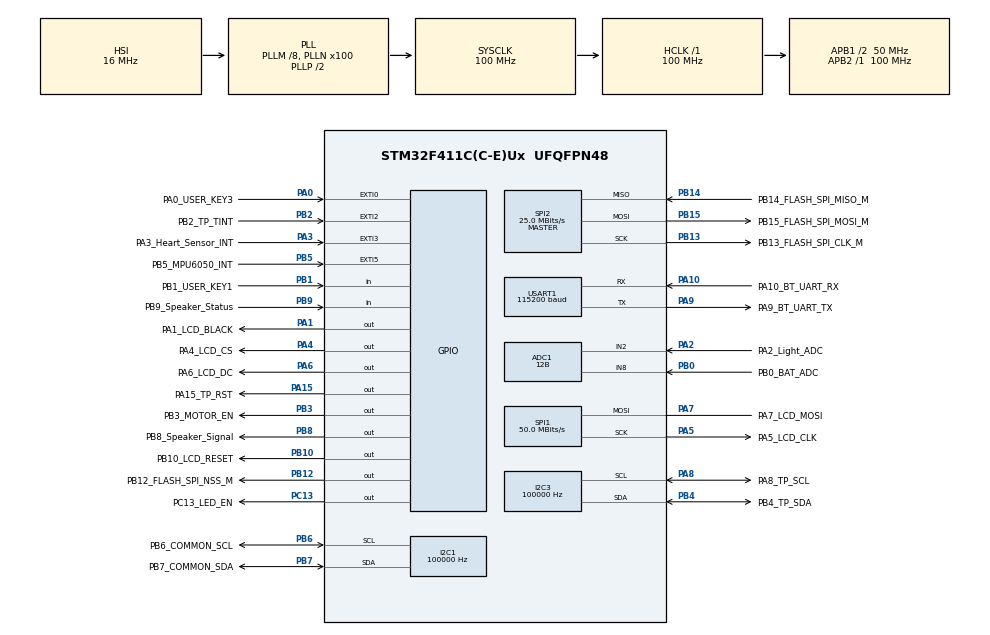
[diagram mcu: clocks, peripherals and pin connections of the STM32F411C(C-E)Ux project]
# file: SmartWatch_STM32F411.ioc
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ADC1.Channel-1\#ChannelRegularConversion=ADC_CHANNEL_8
ADC1.Channel-6\#ChannelRegularConversion=ADC_CHANNEL_2
ADC1.Channel-7\#ChannelRegularConversion=ADC_CHANNEL_2
ADC1.Channel-IN2=ADC_CHANNEL_2
ADC1.Channel-IN8=ADC_CHANNEL_8
ADC1.ClockPrescaler=ADC_CLOCK_SYNC_PCLK_DIV4
ADC1.ContinuousConvMode=DISABLE
ADC1.DMAContinuousRequests=DISABLE
ADC1.DataAlign=ADC_DATAALIGN_RIGHT
ADC1.DiscontinuousConvMode=ENABLE
ADC1.EOCSelection=ADC_EOC_SINGLE_CONV
ADC1.EnableAnalogWatchDog=false
ADC1.ExternalTrigConv=ADC_SOFTWARE_START
ADC1.ExternalTrigConvEdge=ADC_EXTERNALTRIGCONVEDGE_NONE
ADC1.InjNumberOfConversion=0
ADC1.Mode=__NULL
ADC1.NbrOfConversion=3
ADC1.NbrOfDiscConversion=1
ADC1.Rank-1\#ChannelRegularConversion=1
ADC1.Rank-6\#ChannelRegularConversion=2
ADC1.Rank-7\#ChannelRegularConversion=3
ADC1.Resolution=ADC_RESOLUTION_12B
ADC1.SamplingTime-1\#ChannelRegularConversion=ADC_SAMPLETIME_480CYCLES
ADC1.SamplingTime-6\#ChannelRegularConversion=ADC_SAMPLETIME_480CYCLES
ADC1.SamplingTime-7\#ChannelRegularConversion=ADC_SAMPLETIME_480CYCLES
ADC1.ScanConvMode=ENABLE
ADC1.master=1
Dma.I2C1_RX.2.Direction=DMA_PERIPH_TO_MEMORY
Dma.I2C1_RX.2.FIFOMode=DMA_FIFOMODE_DISABLE
Dma.I2C1_RX.2.Instance=DMA1_Stream5
Dma.I2C1_RX.2.MemDataAlignment=DMA_MDATAALIGN_BYTE
Dma.I2C1_RX.2.MemInc=DMA_MINC_ENABLE
Dma.I2C1_RX.2.Mode=DMA_NORMAL
Dma.I2C1_RX.2.PeriphDataAlignment=DMA_PDATAALIGN_BYTE
Dma.I2C1_RX.2.PeriphInc=DMA_PINC_DISABLE
Dma.I2C1_RX.2.Priority=DMA_PRIORITY_LOW
Dma.I2C3_RX.3.Direction=DMA_PERIPH_TO_MEMORY
Dma.I2C3_RX.3.FIFOMode=DMA_FIFOMODE_DISABLE
Dma.I2C3_RX.3.Instance=DMA1_Stream1
Dma.I2C3_RX.3.MemDataAlignment=DMA_MDATAALIGN_BYTE
Dma.I2C3_RX.3.MemInc=DMA_MINC_ENABLE
Dma.I2C3_RX.3.Mode=DMA_NORMAL
Dma.I2C3_RX.3.PeriphDataAlignment=DMA_PDATAALIGN_BYTE
Dma.I2C3_RX.3.PeriphInc=DMA_PINC_DISABLE
Dma.I2C3_RX.3.Priority=DMA_PRIORITY_LOW
Dma.Request0=USART1_RX
Dma.Request1=SPI2_TX
Dma.Request2=I2C1_RX
Dma.Request3=I2C3_RX
Dma.Request4=SPI1_TX
Dma.SPI1_TX.4.Direction=DMA_MEMORY_TO_PERIPH
Dma.SPI1_TX.4.FIFOMode=DMA_FIFOMODE_DISABLE
Dma.SPI1_TX.4.Instance=DMA2_Stream3
Dma.SPI1_TX.4.MemDataAlignment=DMA_MDATAALIGN_BYTE
Dma.SPI1_TX.4.MemInc=DMA_MINC_ENABLE
Dma.SPI1_TX.4.Mode=DMA_NORMAL
Dma.SPI1_TX.4.PeriphDataAlignment=DMA_PDATAALIGN_BYTE
Dma.SPI1_TX.4.PeriphInc=DMA_PINC_DISABLE
Dma.SPI1_TX.4.Priority=DMA_PRIORITY_LOW
Dma.SPI2_TX.1.Direction=DMA_MEMORY_TO_PERIPH
Dma.SPI2_TX.1.FIFOMode=DMA_FIFOMODE_DISABLE
Dma.SPI2_TX.1.Instance=DMA1_Stream4
Dma.SPI2_TX.1.MemDataAlignment=DMA_MDATAALIGN_BYTE
Dma.SPI2_TX.1.MemInc=DMA_MINC_ENABLE
Dma.SPI2_TX.1.Mode=DMA_NORMAL
Dma.SPI2_TX.1.PeriphDataAlignment=DMA_PDATAALIGN_BYTE
Dma.SPI2_TX.1.PeriphInc=DMA_PINC_DISABLE
Dma.SPI2_TX.1.Priority=DMA_PRIORITY_VERY_HIGH
Dma.USART1_RX.0.Direction=DMA_PERIPH_TO_MEMORY
Dma.USART1_RX.0.FIFOMode=DMA_FIFOMODE_DISABLE
Dma.USART1_RX.0.Instance=DMA2_Stream2
Dma.USART1_RX.0.MemDataAlignment=DMA_MDATAALIGN_BYTE
Dma.USART1_RX.0.MemInc=DMA_MINC_ENABLE
Dma.USART1_RX.0.Mode=DMA_NORMAL
Dma.USART1_RX.0.PeriphDataAlignment=DMA_PDATAALIGN_BYTE
Dma.USART1_RX.0.PeriphInc=DMA_PINC_DISABLE
Dma.USART1_RX.0.Priority=DMA_PRIORITY_MEDIUM
FREERTOS.HEAP_NUMBER=4
FREERTOS.INCLUDE_eTaskGetState=1
FREERTOS.INCLUDE_pcTaskGetTaskName=0
FREERTOS.INCLUDE_uxTaskGetStackHighWaterMark=1
FREERTOS.INCLUDE_uxTaskGetStackHighWaterMark2=0
FREERTOS.INCLUDE_uxTaskPriorityGet=1
FREERTOS.INCLUDE_vTaskCleanUpResources=0
FREERTOS.INCLUDE_vTaskDelay=1
FREERTOS.INCLUDE_vTaskDelayUntil=1
FREERTOS.INCLUDE_vTaskDelete=1
FREERTOS.INCLUDE_vTaskPrioritySet=1
FREERTOS.INCLUDE_vTaskSuspend=1
FREERTOS.INCLUDE_xEventGroupSetBitFromISR=0
FREERTOS.INCLUDE_xQueueGetMutexHolder=1
FREERTOS.INCLUDE_xSemaphoreGetMutexHolder=0
FREERTOS.INCLUDE_xTaskAbortDelay=0
FREERTOS.INCLUDE_xTaskGetCurrentTaskHandle=1
FREERTOS.INCLUDE_xTaskGetHandle=0
FREERTOS.INCLUDE_xTaskGetSchedulerState=1
FREERTOS.INCLUDE_xTaskResumeFromISR=1
FREERTOS.INCLUDE_xTimerPendFunctionCall=1
FREERTOS.Tasks01=defaultTask,24,128,StartDefaultTask,Default,NULL,Dynamic,NULL,NULL
FREERTOS.configCHECK_FOR_STACK_OVERFLOW=0
FREERTOS.configENABLE_BACKWARD_COMPATIBILITY=1
FREERTOS.configENABLE_FPU=0
FREERTOS.configGENERATE_RUN_TIME_STATS=0
FREERTOS.configIDLE_SHOULD_YIELD=1
FREERTOS.configLIBRARY_LOWEST_INTERRUPT_PRIORITY=15
FREERTOS.configLIBRARY_MAX_SYSCALL_INTERRUPT_PRIORITY=5
FREERTOS.configMAX_CO_ROUTINE_PRIORITIES=2
FREERTOS.configMAX_TASK_NAME_LEN=16
FREERTOS.configMINIMAL_STACK_SIZE=128
FREERTOS.configQUEUE_REGISTRY_SIZE=8
FREERTOS.configRECORD_STACK_HIGH_ADDRESS=0
FREERTOS.configTICK_RATE_HZ=1000
FREERTOS.configTIMER_QUEUE_LENGTH=10
FREERTOS.configTIMER_TASK_PRIORITY=2
FREERTOS.configTIMER_TASK_STACK_DEPTH=256
FREERTOS.configTOTAL_HEAP_SIZE=30720
FREERTOS.configUSE_APPLICATION_TASK_TAG=0
FREERTOS.configUSE_COUNTING_SEMAPHORES=1
FREERTOS.configUSE_CO_ROUTINES=0
FREERTOS.configUSE_DAEMON_TASK_STARTUP_HOOK=0
FREERTOS.configUSE_IDLE_HOOK=0
FREERTOS.configUSE_MALLOC_FAILED_HOOK=0
FREERTOS.configUSE_MUTEXES=1
FREERTOS.configUSE_NEWLIB_REENTRANT=0
FREERTOS.configUSE_OS2_EVENTFLAGS_FROM_ISR=1
FREERTOS.configUSE_OS2_MUTEX=1
FREERTOS.configUSE_OS2_THREAD_ENUMERATE=1
FREERTOS.configUSE_OS2_THREAD_FLAGS=1
FREERTOS.configUSE_OS2_THREAD_SUSPEND_RESUME=1
FREERTOS.configUSE_OS2_TIMER=1
FREERTOS.configUSE_POSIX_ERRNO=0
FREERTOS.configUSE_PREEMPTION=1
FREERTOS.configUSE_RECURSIVE_MUTEXES=1
FREERTOS.configUSE_STATS_FORMATTING_FUNCTIONS=0
FREERTOS.configUSE_TASK_NOTIFICATIONS=1
FREERTOS.configUSE_TICKLESS_IDLE=0
FREERTOS.configUSE_TICK_HOOK=0
FREERTOS.configUSE_TRACE_FACILITY=1
FREERTOS.copyHeapFile=1
I2C1.AddressingMode=I2C_ADDRESSINGMODE_7BIT
I2C1.ClockSpeed=100000
I2C1.DualAddressMode=I2C_DUALADDRESS_DISABLE
I2C1.GeneralCallMode=I2C_GENERALCALL_DISABLE
I2C1.I2C_Mode=I2C_Standard
I2C1.NoStretchMode=I2C_NOSTRETCH_DISABLE
I2C1.OwnAddress=0
I2C3.AddressingMode=I2C_ADDRESSINGMODE_7BIT
I2C3.ClockSpeed=100000
I2C3.DualAddressMode=I2C_DUALADDRESS_DISABLE
I2C3.GeneralCallMode=I2C_GENERALCALL_DISABLE
I2C3.I2C_Mode=I2C_Standard
I2C3.NoStretchMode=I2C_NOSTRETCH_DISABLE
I2C3.OwnAddress=0
IWDG.Prescaler=IWDG_PRESCALER_64
IWDG.Reload=2500
Mcu.Family=STM32F4
Mcu.Name=STM32F411C(C-E)Ux
Mcu.Package=UFQFPN48
NVIC.DMA1_Stream1_IRQn=true\:5\:0\:false\:false\:true\:true\:false\:true
NVIC.DMA1_Stream4_IRQn=true\:5\:0\:false\:false\:true\:true\:false\:true
NVIC.DMA1_Stream5_IRQn=true\:5\:0\:false\:false\:true\:false\:false\:true
NVIC.DMA2_Stream2_IRQn=true\:5\:0\:false\:false\:true\:true\:false\:true
NVIC.DMA2_Stream3_IRQn=true\:5\:0\:false\:false\:true\:true\:false\:true
NVIC.EXTI0_IRQn=true\:5\:0\:false\:false\:true\:true\:true\:true
NVIC.EXTI2_IRQn=true\:5\:0\:false\:false\:true\:true\:true\:true
NVIC.EXTI9_5_IRQn=true\:5\:0\:false\:false\:true\:true\:true\:true
NVIC.PriorityGroup=NVIC_PRIORITYGROUP_4
NVIC.RTC_WKUP_IRQn=true\:5\:0\:false\:false\:true\:true\:true\:true
NVIC.TIM1_TRG_COM_TIM11_IRQn=true\:15\:0\:false\:false\:true\:false\:true\:true
NVIC.TimeBase=TIM1_TRG_COM_TIM11_IRQn
NVIC.TimeBaseIP=TIM11
NVIC.USART1_IRQn=true\:5\:0\:false\:false\:true\:true\:true\:true
PA0-WKUP.GPIO_Label=PA0_USER_KEY3
PA0-WKUP.GPIO_ModeDefaultEXTI=GPIO_MODE_IT_FALLING
PA0-WKUP.Signal=GPXTI0
PA1.GPIO_Label=PA1_LCD_BLACK
PA1.GPIO_Speed=GPIO_SPEED_FREQ_VERY_HIGH
PA1.PinState=GPIO_PIN_SET
PA1.Signal=GPIO_Output
PA10.GPIO_Label=PA10_BT_UART_RX
PA10.Mode=Asynchronous
PA10.Signal=USART1_RX
PA13.Mode=Serial_Wire
PA13.Signal=SYS_JTMS-SWDIO
PA14.Mode=Serial_Wire
PA14.Signal=SYS_JTCK-SWCLK
PA15.GPIO_Label=PA15_TP_RST
PA15.GPIO_PuPd=GPIO_NOPULL
PA15.GPIO_Speed=GPIO_SPEED_FREQ_VERY_HIGH
PA15.PinState=GPIO_PIN_SET
PA15.Signal=GPIO_Output
PA2.GPIO_Label=PA2_Light_ADC
PA2.Signal=ADCx_IN2
PA3.GPIO_Label=PA3_Heart_Sensor_INT
PA3.GPIO_ModeDefaultEXTI=GPIO_MODE_IT_RISING_FALLING
PA3.Signal=GPXTI3
PA4.GPIO_Label=PA4_LCD_CS
PA4.GPIO_ModeDefaultOutputPP=GPIO_MODE_OUTPUT_PP
PA4.Signal=GPIO_Output
PA5.GPIO_Label=PA5_LCD_CLK
PA5.Mode=Simplex_Bidirectional_Master
PA5.Signal=SPI1_SCK
PA6.GPIO_Label=PA6_LCD_DC
PA6.GPIO_Speed=GPIO_SPEED_FREQ_VERY_HIGH
PA6.Signal=GPIO_Output
PA7.GPIO_Label=PA7_LCD_MOSI
PA7.Mode=Simplex_Bidirectional_Master
PA7.Signal=SPI1_MOSI
PA8.GPIO_Label=PA8_TP_SCL
PA8.Mode=I2C
PA8.Signal=I2C3_SCL
PA9.GPIO_Label=PA9_BT_UART_TX
PA9.Mode=Asynchronous
PA9.Signal=USART1_TX
PB0.GPIO_Label=PB0_BAT_ADC
PB0.Signal=ADCx_IN8
PB1.GPIO_Label=PB1_USER_KEY1
PB1.Signal=GPIO_Input
PB10.GPIO_Label=PB10_LCD_RESET
PB10.GPIO_Speed=GPIO_SPEED_FREQ_VERY_HIGH
PB10.PinState=GPIO_PIN_SET
PB10.Signal=GPIO_Output
PB12.GPIO_Label=PB12_FLASH_SPI_NSS_M
PB12.GPIO_Speed=GPIO_SPEED_FREQ_VERY_HIGH
PB12.Signal=GPIO_Output
PB13.GPIO_Label=PB13_FLASH_SPI_CLK_M
PB13.Mode=Full_Duplex_Master
PB13.Signal=SPI2_SCK
PB14.GPIO_Label=PB14_FLASH_SPI_MISO_M
PB14.Mode=Full_Duplex_Master
PB14.Signal=SPI2_MISO
PB15.GPIO_Label=PB15_FLASH_SPI_MOSI_M
PB15.Mode=Full_Duplex_Master
PB15.Signal=SPI2_MOSI
PB2.GPIO_Label=PB2_TP_TINT
PB2.GPIO_PuPd=GPIO_PULLUP
PB2.Signal=GPXTI2
PB3.GPIO_Label=PB3_MOTOR_EN
PB3.Signal=GPIO_Output
PB4.GPIO_Label=PB4_TP_SDA
PB4.Mode=I2C
PB4.Signal=I2C3_SDA
PB5.GPIO_Label=PB5_MPU6050_INT
PB5.GPIO_ModeDefaultEXTI=GPIO_MODE_IT_FALLING
PB5.GPIO_PuPd=GPIO_PULLUP
PB5.Signal=GPXTI5
PB6.GPIO_Label=PB6_COMMON_SCL
PB6.Mode=I2C
PB6.Signal=I2C1_SCL
PB7.GPIO_Label=PB7_COMMON_SDA
PB7.Mode=I2C
PB7.Signal=I2C1_SDA
PB8.GPIO_Label=PB8_Speaker_Signal
PB8.GPIO_Speed=GPIO_SPEED_FREQ_VERY_HIGH
PB8.Signal=GPIO_Output
PB9.GPIO_Label=PB9_Speaker_Status
PB9.Signal=GPIO_Input
PC13-ANTI_TAMP.GPIO_Label=PC13_LED_EN
PC13-ANTI_TAMP.Signal=GPIO_Output
PC14-OSC32_IN.Mode=LSE-External-Oscillator
PC14-OSC32_IN.Signal=RCC_OSC32_IN
PC15-OSC32_OUT.Mode=LSE-External-Oscillator
PC15-OSC32_OUT.Signal=RCC_OSC32_OUT
PH0\ -\ OSC_IN.Mode=HSE-External-Oscillator
PH0\ -\ OSC_IN.Signal=RCC_OSC_IN
PH1\ -\ OSC_OUT.Mode=HSE-External-Oscillator
PH1\ -\ OSC_OUT.Signal=RCC_OSC_OUT
ProjectManager.HeapSize=0x200
ProjectManager.StackSize=0x400
ProjectManager.TargetToolchain=CMake
RCC.48MHZClocksFreq_Value=50000000
RCC.AHBFreq_Value=100000000
RCC.APB1CLKDivider=RCC_HCLK_DIV2
RCC.APB1Freq_Value=50000000
RCC.APB1TimFreq_Value=100000000
RCC.APB2Freq_Value=100000000
RCC.APB2TimFreq_Value=100000000
RCC.CortexFreq_Value=100000000
RCC.FLatency=FLASH_LATENCY_3
RCC.HCLKFreq_Value=100000000
RCC.HSE_VALUE=25000000
RCC.HSI_VALUE=16000000
RCC.PLLM=8
RCC.PLLN=100
RCC.SYSCLKFreq_VALUE=100000000
RCC.SYSCLKSource=RCC_SYSCLKSOURCE_PLLCLK
RCC.VCOOutputFreq_Value=200000000
RTC.AsynchPrediv=127
RTC.Date=2
RTC.DayLightSaving=RTC_DAYLIGHTSAVING_NONE
RTC.Format=RTC_FORMAT_BCD
RTC.HourFormat=RTC_HOURFORMAT_24
RTC.Hours=12
RTC.Minutes=0
RTC.Month=RTC_MONTH_JANUARY
RTC.Seconds=0
RTC.StoreOperation=RTC_STOREOPERATION_RESET
RTC.SynchPrediv=255
RTC.WakeUpClock=RTC_WAKEUPCLOCK_CK_SPRE_16BITS
RTC.WakeUpCounter=3
RTC.WeekDay=RTC_WEEKDAY_FRIDAY
RTC.Year=26
SH.ADCx_IN2.0=ADC1_IN2,IN2
SH.ADCx_IN8.0=ADC1_IN8,IN8
SPI1.BaudRatePrescaler=SPI_BAUDRATEPRESCALER_2
SPI1.CLKPhase=SPI_PHASE_2EDGE
SPI1.CLKPolarity=SPI_POLARITY_HIGH
SPI1.CRCCalculation=SPI_CRCCALCULATION_DISABLE
SPI1.CalculateBaudRate=50.0 MBits/s
SPI1.DataSize=SPI_DATASIZE_8BIT
SPI1.Direction=SPI_DIRECTION_1LINE
SPI1.FirstBit=SPI_FIRSTBIT_MSB
SPI1.Mode=SPI_MODE_MASTER
SPI1.NSS=SPI_NSS_SOFT
SPI1.TIMode=SPI_TIMODE_DISABLE
SPI1.VirtualType=VM_MASTER
SPI2.BaudRatePrescaler=SPI_BAUDRATEPRESCALER_2
SPI2.CLKPhase=SPI_PHASE_1EDGE
SPI2.CLKPolarity=SPI_POLARITY_LOW
SPI2.CRCCalculation=SPI_CRCCALCULATION_DISABLE
SPI2.CalculateBaudRate=25.0 MBits/s
SPI2.DataSize=SPI_DATASIZE_8BIT
SPI2.Direction=SPI_DIRECTION_2LINES
SPI2.FirstBit=SPI_FIRSTBIT_MSB
SPI2.Mode=SPI_MODE_MASTER
SPI2.NSS=SPI_NSS_SOFT
SPI2.TIMode=SPI_TIMODE_DISABLE
SPI2.VirtualType=VM_MASTER
USART1.BaudRate=115200
USART1.Mode=MODE_TX_RX
USART1.OverSampling=UART_OVERSAMPLING_16
USART1.Parity=PARITY_NONE
USART1.StopBits=STOPBITS_1
USART1.VirtualMode=VM_ASYNC
USART1.WordLength=WORDLENGTH_8B
VP_ADC1_Vref_Input.Mode=IN-Vrefint
VP_FREERTOS_VS_CMSIS_V2.Mode=CMSIS_V2
VP_IWDG_VS_IWDG.Mode=IWDG_Activate
VP_RTC_VS_RTC_Activate.Mode=RTC_Enabled
VP_RTC_VS_RTC_Calendar.Mode=RTC_Calendar
VP_RTC_VS_RTC_WakeUp_intern.Mode=WakeUp
VP_SYS_VS_tim11.Mode=TIM11
board=custom

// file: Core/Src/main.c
/* USER CODE BEGIN Header */
/**
  ******************************************************************************
  * @file           : main.c
  * @brief          : Main program body
  ******************************************************************************
  * @attention
  *
  * Copyright (c) 2026 STMicroelectronics.
  * All rights reserved.
  *
  * This software is licensed under terms that can be found in the LICENSE file
  * in the root directory of this software component.
  * If no LICENSE file comes with this software, it is provided AS-IS.
  *
  ******************************************************************************
  */
/* USER CODE END Header */
#include "main.h"
#include "cmsis_os.h"
#include "adc.h"
#include "dma.h"
#include "i2c.h"
#include "iwdg.h"
#include "rtc.h"
#include "spi.h"
#include "usart.h"
#include "gpio.h"
#include "user_debug.h"
#include "user_periph_setup.h"

void SystemClock_Config(void);
void MX_FREERTOS_Init(void);

int main(void)
{

  /* MCU Configuration--------------------------------------------------------*/

  /* Reset of all peripherals, Initializes the Flash interface and the Systick. */
  HAL_Init();

  /* Configure the system clock */
  SystemClock_Config();

  /* Initialize all configured peripherals */
  MX_GPIO_Init();
  MX_DMA_Init();
  MX_USART1_UART_Init();
  MX_I2C3_Init();
  MX_SPI1_Init();
  MX_SPI2_Init();
  MX_I2C1_Init();
  MX_ADC1_Init();
  MX_RTC_Init();
  MX_IWDG_Init();
  /* USER CODE BEGIN 2 */
  user_debug_init();
  app_periph_init();
  /* USER CODE END 2 */

  /* Init scheduler */
  osKernelInitialize();  /* Call init function for freertos objects (in cmsis_os2.c) */
  MX_FREERTOS_Init();

  /* Start scheduler */
  osKernelStart();

  /* We should never get here as control is now taken by the scheduler */

  /* Infinite loop */
  while (1)
  {

  }
}

void SystemClock_Config(void)
{
  RCC_OscInitTypeDef RCC_OscInitStruct = {0};
  RCC_ClkInitTypeDef RCC_ClkInitStruct = {0};

  /** Configure the main internal regulator output voltage
  */
  __HAL_RCC_PWR_CLK_ENABLE();
  __HAL_PWR_VOLTAGESCALING_CONFIG(PWR_REGULATOR_VOLTAGE_SCALE1);

  /** Initializes the RCC Oscillators according to the specified parameters
  * in the RCC_OscInitTypeDef structure.
  */
  RCC_OscInitStruct.OscillatorType = RCC_OSCILLATORTYPE_HSI|RCC_OSCILLATORTYPE_LSI;
  RCC_OscInitStruct.HSIState = RCC_HSI_ON;
  RCC_OscInitStruct.HSICalibrationValue = RCC_HSICALIBRATION_DEFAULT;
  RCC_OscInitStruct.LSIState = RCC_LSI_ON;
  RCC_OscInitStruct.PLL.PLLState = RCC_PLL_ON;
  RCC_OscInitStruct.PLL.PLLSource = RCC_PLLSOURCE_HSI;
  RCC_OscInitStruct.PLL.PLLM = 8;
  RCC_OscInitStruct.PLL.PLLN = 100;
  RCC_OscInitStruct.PLL.PLLP = RCC_PLLP_DIV2;
  RCC_OscInitStruct.PLL.PLLQ = 4;
  if (HAL_RCC_OscConfig(&RCC_OscInitStruct) != HAL_OK)
  {
    Error_Handler();
  }

  /** Initializes the CPU, AHB and APB buses clocks
  */
  RCC_ClkInitStruct.ClockType = RCC_CLOCKTYPE_HCLK|RCC_CLOCKTYPE_SYSCLK
                              |RCC_CLOCKTYPE_PCLK1|RCC_CLOCKTYPE_PCLK2;
  RCC_ClkInitStruct.SYSCLKSource = RCC_SYSCLKSOURCE_PLLCLK;
  RCC_ClkInitStruct.AHBCLKDivider = RCC_SYSCLK_DIV1;
  RCC_ClkInitStruct.APB1CLKDivider = RCC_HCLK_DIV2;
  RCC_ClkInitStruct.APB2CLKDivider = RCC_HCLK_DIV1;

  if (HAL_RCC_ClockConfig(&RCC_ClkInitStruct, FLASH_LATENCY_3) != HAL_OK)
  {
    Error_Handler();
  }
}

void HAL_TIM_PeriodElapsedCallback(TIM_HandleTypeDef *htim)
{
  if (htim->Instance == TIM11)
  {
    HAL_IncTick();
  }
}

void Error_Handler(void)
{
  __disable_irq();
  while (1)
  {
  }
}

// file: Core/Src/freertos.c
/* USER CODE BEGIN Header */
/**
  ******************************************************************************
  * File Name          : freertos.c
  * Description        : Code for freertos applications
  ******************************************************************************
  * @attention
  *
  * Copyright (c) 2026 STMicroelectronics.
  * All rights reserved.
  *
  * This software is licensed under terms that can be found in the LICENSE file
  * in the root directory of this software component.
  * If no LICENSE file comes with this software, it is provided AS-IS.
  *
  ******************************************************************************
  */
/* USER CODE END Header */

#include "FreeRTOS.h"
#include "task.h"
#include "main.h"
#include "cmsis_os.h"

/* USER CODE BEGIN Includes */
#include "user_debug.h"
#include "user_init.h"

/* USER CODE END Includes */

/* USER CODE BEGIN PD */
#ifdef  LOG_TAG
#undef  LOG_TAG
#define LOG_TAG       "FreeRTOS"
#else // else of LOG_TAG
#define LOG_TAG       "FreeRTOS"
#endif // end of LOG_TAG
/* USER CODE END PD */

/* USER CODE BEGIN PM */
#define  FreeRTOS 1
#if defined(FreeRTOS) && defined(MYDEBUG)
#define LOG_DEBUG(fmt, ...)  log_d("[%s][%s:%d][DEBUG] " fmt "\r\n", \
LOG_TAG, __func__, __LINE__, ##__VA_ARGS__)
#define LOG_ERROR(fmt, ...)  log_e("[%s][%s:%d][ERROR] " fmt "\r\n", \
LOG_TAG, __func__, __LINE__, ##__VA_ARGS__)
#define ASSERT_NOT_NULL(ptr)                 do { \
if ((ptr) == NULL) {                              \
LOG_ERROR("Invalid parameter: %s is NULL", #ptr); \
while(1);}                                        \
}while(0)
#define ASSERT_CONDITION(cond)               do { \
if (!(cond)) {                                    \
LOG_ERROR("Condition failed: %s", #cond);         \
while(1);}                                        \
}while(0)
#endif
/* USER CODE END PM */

/* USER CODE BEGIN Variables */
TaskHandle_t g_aht21_task_handler;
/* USER CODE END Variables */
/* Definitions for defaultTask */
osThreadId_t defaultTaskHandle;
const osThreadAttr_t defaultTask_attributes = {
  .name = "defaultTask",
  .stack_size = 128 * 4,
  .priority = (osPriority_t) osPriorityNormal,
};

/* USER CODE BEGIN FunctionPrototypes */
void aht21_task(void *argument);
/* USER CODE END FunctionPrototypes */

void StartDefaultTask(void *argument);

void MX_FREERTOS_Init(void); /* (MISRA C 2004 rule 8.1) */

/* USER CODE BEGIN PREPOSTSLEEP */
__weak void PreSleepProcessing(uint32_t ulExpectedIdleTime)
{
/* place for user code */
}

__weak void PostSleepProcessing(uint32_t ulExpectedIdleTime)
{
/* place for user code */
}
/* USER CODE END PREPOSTSLEEP */

void MX_FREERTOS_Init(void) {

  /* Create the thread(s) */
  /* creation of defaultTask */
  defaultTaskHandle = osThreadNew(StartDefaultTask, NULL, &defaultTask_attributes);

  /* USER CODE BEGIN RTOS_THREADS */
  /* add threads, ... */
  UserAppTask_Init();
  /* USER CODE END RTOS_THREADS */

}

void StartDefaultTask(void *argument)
{
  /* USER CODE BEGIN StartDefaultTask */
  /* Infinite loop */
  for(;;)
  {
    osDelay(5);
  }
  /* USER CODE END StartDefaultTask */
}
